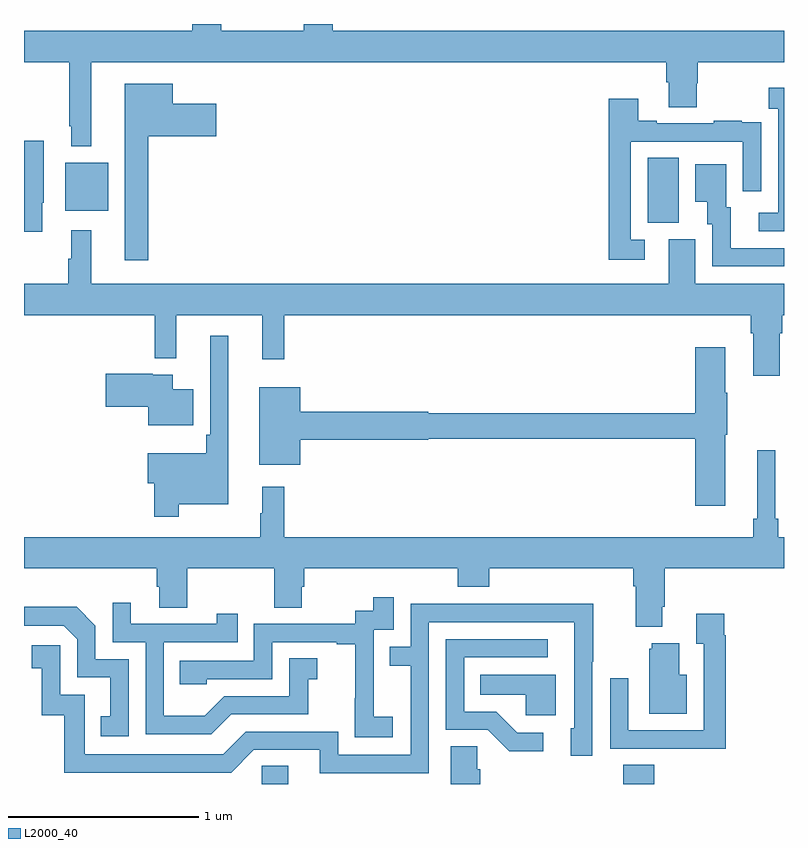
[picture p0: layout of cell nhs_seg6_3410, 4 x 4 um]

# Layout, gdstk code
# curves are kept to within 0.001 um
import gdstk
lib = gdstk.Library(unit=1e-6, precision=1e-09)
def R(c, l, rs):  # rectangles x0, y0, x1, y1
    for r in rs: c.add(gdstk.rectangle(r[:2], r[2:], *l))
def P(c, l, *ps):  # polygons
    for p in ps: c.add(gdstk.Polygon(p, *l))
L2000_40 = (2000, 40)

nhs_seg6_3410 = lib.new_cell('nhs_seg6_3410')
R(nhs_seg6_3410, L2000_40, [(312.252,979.5,312.391,979.595), (314.153,979.5,314.318,979.601), (314.282,982.453,314.446,982.796), (311.216,982.517,311.443,982.771)])
P(nhs_seg6_3410, L2000_40, [(311.353,983.3),(314.381,983.3),(314.381,983.194),(314.393,983.194),(314.393,983.062),(314.541,983.062),(314.541,983.187),(314.546,983.187),(314.546,983.3),(315,983.3),(315,983.464),(312.626,983.464),(312.626,983.5),(312.473,983.5),(312.473,983.464),(312.037,983.464),(312.037,983.5),(311.885,983.5),(311.885,983.464),(311,983.464),(311,983.3),(311.239,983.3),(311.239,982.963),(311.249,982.963),(311.249,982.856),(311.353,982.856)],
  [(311.653,982.91),(312.013,982.91),(312.013,983.08),(311.782,983.08),(311.782,983.185),(311.531,983.185),(311.531,982.257),(311.653,982.257)],
  [(315,983.164),(314.919,983.164),(314.919,983.054),(314.97,983.054),(314.97,982.506),(314.868,982.506),(314.868,982.41),(315,982.41)],
  [(314.266,982.365),(314.193,982.365),(314.193,982.881),(314.784,982.881),(314.784,982.62),(314.88,982.62),(314.88,982.874),(314.879,982.874),(314.879,982.983),(314.777,982.983),(314.777,982.99),(314.629,982.99),(314.629,982.977),(314.329,982.977),(314.329,982.99),(314.233,982.99),(314.233,983.107),(314.077,983.107),(314.077,982.26),(314.266,982.26)],
  [(311.095,982.56),(311.104,982.56),(311.104,982.885),(311,982.885),(311,982.407),(311.095,982.407)],
  [(315,982.32),(314.719,982.32),(314.719,982.536),(314.695,982.536),(314.695,982.762),(314.534,982.762),(314.534,982.565),(314.597,982.565),(314.597,982.446),(314.622,982.446),(314.622,982.224),(315,982.224)],
  [(314.977,981.872),(314.99,981.872),(314.99,981.968),(315,981.968),(315,982.132),(314.533,982.132),(314.533,982.368),(314.393,982.368),(314.393,982.132),(311.353,982.132),(311.353,982.414),(311.249,982.414),(311.249,982.265),(311.232,982.265),(311.232,982.132),(311,982.132),(311,981.968),(311.688,981.968),(311.688,981.74),(311.801,981.74),(311.801,981.968),(312.254,981.968),(312.254,981.735),(312.371,981.735),(312.371,981.968),(314.825,981.968),(314.825,981.872),(314.837,981.872),(314.837,981.648),(314.977,981.648)],
  [(311.815,980.972),(312.076,980.972),(312.076,981.859),(311.979,981.859),(311.979,981.337),(311.959,981.337),(311.959,981.241),(311.652,981.241),(311.652,981.083),(311.686,981.083),(311.686,980.907),(311.815,980.907)],
  [(314.692,981.339),(314.7,981.339),(314.7,981.56),(314.692,981.56),(314.692,981.799),(314.534,981.799),(314.534,981.452),(313.128,981.452),(313.128,981.458),(312.454,981.458),(312.454,981.589),(312.239,981.589),(312.239,981.179),(312.454,981.179),(312.454,981.311),(313.128,981.311),(313.128,981.316),(314.534,981.316),(314.534,980.964),(314.692,980.964)],
  [(311.89,981.577),(311.782,981.577),(311.782,981.655),(311.678,981.655),(311.678,981.66),(311.43,981.66),(311.43,981.485),(311.654,981.485),(311.654,981.389),(311.89,981.389)],
  [(314.359,980.434),(314.372,980.434),(314.372,980.636),(315,980.636),(315,980.8),(314.969,980.8),(314.969,980.896),(314.955,980.896),(314.955,981.256),(314.858,981.256),(314.858,980.896),(314.839,980.896),(314.839,980.8),(312.371,980.8),(312.371,981.064),(312.254,981.064),(312.254,980.924),(312.243,980.924),(312.243,980.8),(311,980.8),(311,980.636),(311.699,980.636),(311.699,980.538),(311.711,980.538),(311.711,980.428),(311.859,980.428),(311.859,980.636),(312.316,980.636),(312.316,980.428),(312.463,980.428),(312.463,980.538),(312.476,980.538),(312.476,980.636),(313.283,980.636),(313.283,980.537),(313.448,980.537),(313.448,980.636),(314.207,980.636),(314.207,980.54),(314.219,980.54),(314.219,980.327),(314.359,980.327)],
  [(312.94,979.855),(312.842,979.855),(312.842,980.084),(312.84,980.084),(312.84,980.313),(312.945,980.313),(312.945,980.482),(312.837,980.482),(312.837,980.412),(312.744,980.412),(312.744,980.343),(312.21,980.343),(312.21,980.148),(311.821,980.148),(311.821,980.025),(311.961,980.025),(311.961,980.052),(312.306,980.052),(312.306,980.247),(312.647,980.247),(312.647,980.235),(312.743,980.235),(312.743,979.951),(312.742,979.951),(312.742,979.745),(312.94,979.745)],
  [(312.091,979.866),(312.495,979.866),(312.495,980.051),(312.544,980.051),(312.544,980.161),(312.396,980.161),(312.396,979.962),(312.054,979.962),(311.95,979.858),(311.736,979.858),(311.736,980.247),(312.125,980.247),(312.125,980.395),(312.014,980.395),(312.014,980.343),(311.563,980.343),(311.563,980.455),(311.466,980.455),(311.466,980.247),(311.64,980.247),(311.64,979.761),(311.986,979.761)],
  [(313.131,980.352),(313.895,980.352),(313.896,979.794),(313.877,979.794),(313.877,979.65),(313.992,979.65),(313.992,980.143),(313.995,980.143),(313.995,980.45),(313.531,980.45),(313.531,980.448),(313.035,980.448),(313.035,980.223),(312.925,980.223),(312.925,980.122),(313.035,980.122),(313.035,979.653),(312.654,979.653),(312.654,979.776),(312.168,979.776),(312.048,979.656),(311.319,979.656),(311.319,979.971),(311.19,979.971),(311.19,980.23),(311.04,980.23),(311.04,980.109),(311.093,980.109),(311.093,979.863),(311.211,979.863),(311.211,979.56),(312.09,979.56),(312.21,979.68),(312.557,979.68),(312.557,979.557),(313.131,979.557)],
  [(311.55,980.157),(311.376,980.157),(311.376,980.334),(311.278,980.432),(311,980.432),(311,980.334),(311.208,980.334),(311.28,980.262),(311.28,980.061),(311.453,980.061),(311.453,979.857),(311.404,979.857),(311.404,979.752),(311.55,979.752)],
  [(314.693,980.282),(314.686,980.282),(314.686,980.395),(314.537,980.395),(314.537,980.239),(314.577,980.239),(314.577,979.782),(314.181,979.782),(314.181,980.056),(314.085,980.056),(314.085,979.686),(314.401,979.686),(314.401,979.685),(314.693,979.685)],
  [(313.732,979.77),(313.597,979.77),(313.486,979.881),(313.317,979.881),(313.317,980.166),(313.756,980.166),(313.756,980.262),(313.221,980.262),(313.221,979.785),(313.44,979.785),(313.553,979.673),(313.732,979.673)],
  [(314.488,980.074),(314.449,980.074),(314.449,980.242),(314.303,980.242),(314.303,980.211),(314.291,980.211),(314.291,979.871),(314.488,979.871)],
  [(313.798,980.074),(313.402,980.074),(313.402,979.97),(313.641,979.97),(313.641,979.862),(313.798,979.862)],
  [(313.4,979.577),(313.386,979.577),(313.386,979.7),(313.247,979.7),(313.247,979.5),(313.4,979.5)])

lib.write_gds('nhs_seg6_3410.gds')
